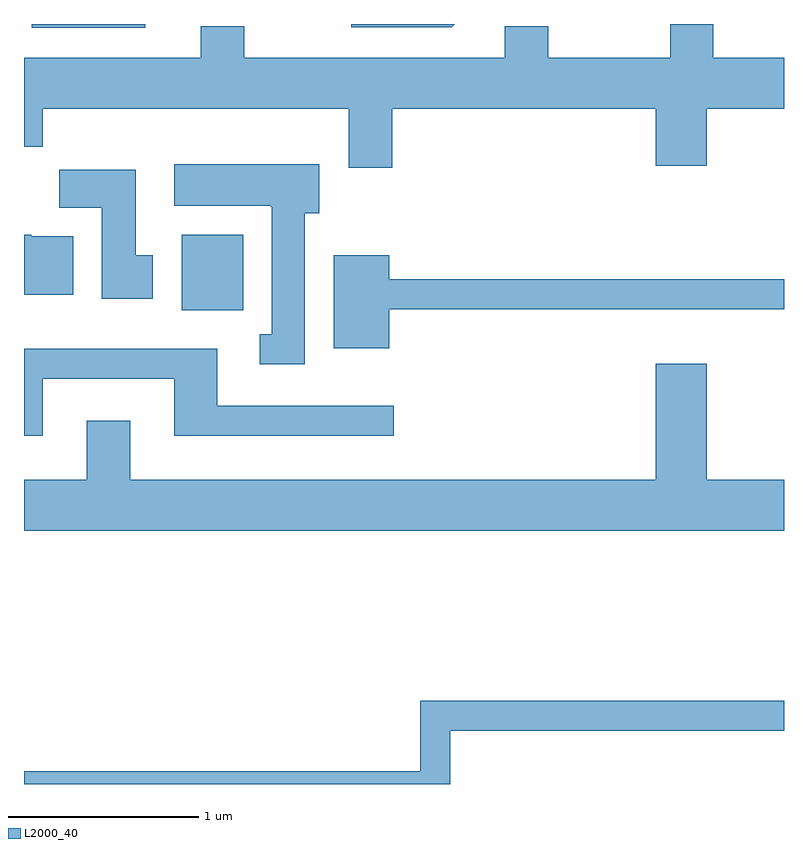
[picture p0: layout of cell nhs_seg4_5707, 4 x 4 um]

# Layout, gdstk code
import gdstk
lib = gdstk.Library(unit=1e-6, precision=1e-09)
def R(c, l, rs):  # rectangles x0, y0, x1, y1
    for r in rs: c.add(gdstk.rectangle(r[:2], r[2:], *l))
def P(c, l, *ps):  # polygons
    for p in ps: c.add(gdstk.Polygon(p, *l))
L2000_40 = (2000, 40)

nhs_seg4_5707 = lib.new_cell('nhs_seg4_5707')
R(nhs_seg4_5707, L2000_40, [(352.441,1382.476,352.764,1382.874), (351.653,1383.961,352.249,1383.982)])
P(nhs_seg4_5707, L2000_40, [(353.549,1383.536),(354.936,1383.536),(354.936,1383.236),(355.204,1383.236),(355.204,1383.536),(355.611,1383.536),(355.611,1383.804),(355.239,1383.804),(355.239,1383.982),(355.011,1383.982),(355.011,1383.804),(354.369,1383.804),(354.369,1383.969),(354.141,1383.969),(354.141,1383.804),(352.769,1383.804),(352.769,1383.969),(352.541,1383.969),(352.541,1383.804),(351.611,1383.804),(351.611,1383.336),(351.709,1383.336),(351.709,1383.536),(353.321,1383.536),(353.321,1383.226),(353.549,1383.226)],
  [(353.878,1383.982),(353.333,1383.982),(353.333,1383.966),(353.862,1383.966)],
  [(353.089,1382.986),(353.164,1382.986),(353.164,1383.244),(352.401,1383.244),(352.401,1383.026),(352.91,1383.026),(352.91,1383.02),(352.916,1383.02),(352.916,1382.349),(352.853,1382.349),(352.853,1382.191),(353.089,1382.191)],
  [(352.289,1382.764),(352.199,1382.764),(352.199,1383.214),(351.796,1383.214),(351.796,1383.016),(352.021,1383.016),(352.021,1382.536),(352.289,1382.536)],
  [(351.869,1382.864),(351.65,1382.864),(351.65,1382.874),(351.611,1382.874),(351.611,1382.556),(351.869,1382.556)],
  [(353.534,1382.481),(355.611,1382.481),(355.611,1382.639),(353.534,1382.639),(353.534,1382.764),(353.241,1382.764),(353.241,1382.276),(353.534,1382.276)],
  [(351.709,1382.116),(352.401,1382.116),(352.401,1381.816),(353.558,1381.816),(353.558,1381.974),(352.629,1381.974),(352.629,1382.274),(351.611,1382.274),(351.611,1381.816),(351.709,1381.816)],
  [(355.611,1381.584),(355.204,1381.584),(355.204,1382.194),(354.936,1382.194),(354.936,1381.584),(352.169,1381.584),(352.169,1381.894),(351.941,1381.894),(351.941,1381.584),(351.611,1381.584),(351.611,1381.316),(355.611,1381.316)],
  [(353.854,1380.261),(355.611,1380.261),(355.611,1380.419),(353.696,1380.419),(353.696,1380.049),(351.611,1380.049),(351.611,1379.982),(353.854,1379.982)])

lib.write_gds('nhs_seg4_5707.gds')
